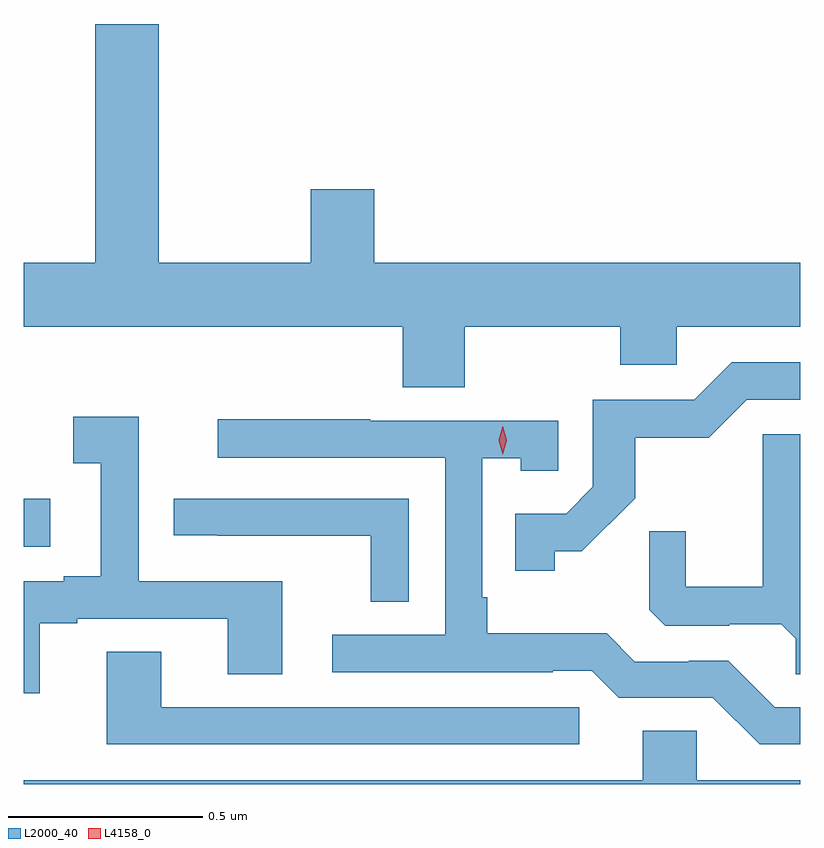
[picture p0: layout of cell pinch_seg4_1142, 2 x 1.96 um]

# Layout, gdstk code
import gdstk
lib = gdstk.Library(unit=1e-6, precision=1e-09)
def R(c, l, rs):  # rectangles x0, y0, x1, y1
    for r in rs: c.add(gdstk.rectangle(r[:2], r[2:], *l))
def P(c, l, *ps):  # polygons
    for p in ps: c.add(gdstk.Polygon(p, *l))
L2000_40 = (2000, 40)
L4158_0 = (4158, 0)

pinch_seg4_1142 = lib.new_cell('pinch_seg4_1142')
R(pinch_seg4_1142, L2000_40, [(439.993,800.249,440.062,800.373)])
P(pinch_seg4_1142, L2000_40, [(441.129,800.816),(441.529,800.816),(441.529,800.718),(441.675,800.718),(441.675,800.816),(441.993,800.816),(441.993,800.98),(440.896,800.98),(440.896,801.169),(440.732,801.169),(440.732,800.98),(440.341,800.98),(440.341,801.595),(440.177,801.595),(440.177,800.98),(439.993,800.98),(439.993,800.816),(440.969,800.816),(440.969,800.659),(441.129,800.659)],
  [(441.36,800.237),(441.43,800.237),(441.568,800.374),(441.568,800.53),(441.757,800.53),(441.855,800.628),(441.993,800.628),(441.993,800.724),(441.816,800.724),(441.72,800.628),(441.459,800.628),(441.459,800.403),(441.39,800.334),(441.259,800.334),(441.259,800.187),(441.36,800.187)],
  [(440.035,800.052),(440.131,800.052),(440.131,800.064),(440.519,800.064),(440.519,799.921),(440.659,799.921),(440.659,800.16),(440.289,800.16),(440.289,800.584),(440.121,800.584),(440.121,800.464),(440.192,800.464),(440.192,800.173),(440.096,800.173),(440.096,800.16),(439.993,800.16),(439.993,799.872),(440.035,799.872)],
  [(441.993,799.836),(441.927,799.836),(441.807,799.956),(441.706,799.956),(441.706,799.953),(441.567,799.953),(441.494,800.026),(441.187,800.026),(441.187,800.119),(441.174,800.119),(441.174,800.477),(441.273,800.477),(441.273,800.445),(441.369,800.445),(441.369,800.574),(440.885,800.574),(440.885,800.577),(440.493,800.577),(440.493,800.478),(441.078,800.478),(441.078,800.022),(440.787,800.022),(440.787,799.926),(441.356,799.926),(441.356,799.929),(441.456,799.929),(441.525,799.86),(441.768,799.86),(441.888,799.74),(441.993,799.74)],
  [(441.993,800.538),(441.896,800.538),(441.896,800.146),(441.698,800.146),(441.698,800.289),(441.604,800.289),(441.604,800.087),(441.645,800.046),(441.81,800.046),(441.81,800.049),(441.944,800.049),(441.981,800.012),(441.981,799.921),(441.993,799.921)],
  [(440.985,800.373),(440.379,800.373),(440.379,800.278),(440.491,800.278),(440.491,800.277),(440.887,800.277),(440.887,800.107),(440.985,800.107)],
  [(441.424,799.836),(440.347,799.836),(440.347,799.979),(440.207,799.979),(440.207,799.74),(441.424,799.74)],
  [(441.993,799.648),(441.726,799.648),(441.726,799.775),(441.587,799.775),(441.587,799.648),(439.993,799.648),(439.993,799.638),(441.993,799.638)])
P(pinch_seg4_1142, L4158_0, [(441.227,800.487),(441.227,800.487),(441.217,800.523),(441.227,800.559),(441.227,800.559),(441.227,800.559),(441.237,800.523),(441.227,800.487)])

lib.write_gds('pinch_seg4_1142.gds')
